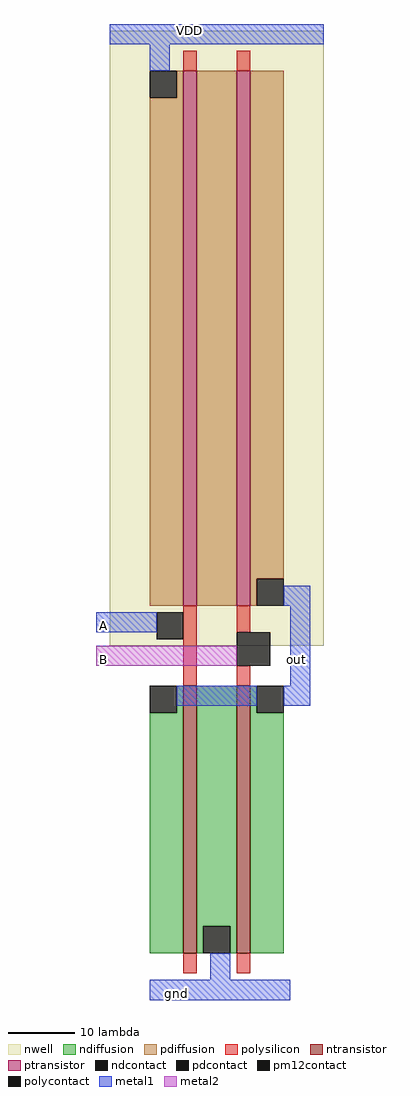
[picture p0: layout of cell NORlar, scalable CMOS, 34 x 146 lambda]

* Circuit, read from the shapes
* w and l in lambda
.subckt NORlar A B VDD gnd out
M1 gnd A out VSUBS nfet w=40 l=2
M2 out B gnd VSUBS nfet w=40 l=2
M3 n1 A VDD n2 pfet w=80 l=2
M4 out B n1 n2 pfet w=80 l=2
.ends

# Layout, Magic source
magic
tech scmos
<< nwell >>
rect 263 -174 295 -82
<< ntransistor >>
rect 274 -220 276 -180
rect 282 -220 284 -180
<< ptransistor >>
rect 274 -168 276 -88
rect 282 -168 284 -88
<< ndiffusion >>
rect 273 -184 274 -180
rect 269 -220 274 -184
rect 276 -216 282 -180
rect 276 -220 277 -216
rect 281 -220 282 -216
rect 284 -184 285 -180
rect 284 -220 289 -184
<< pdiffusion >>
rect 273 -92 274 -88
rect 269 -168 274 -92
rect 276 -168 282 -88
rect 284 -164 289 -88
rect 284 -168 285 -164
<< ndcontact >>
rect 269 -184 273 -180
rect 277 -220 281 -216
rect 285 -184 289 -180
<< pdcontact >>
rect 269 -92 273 -88
rect 285 -168 289 -164
<< polysilicon >>
rect 274 -88 276 -85
rect 282 -88 284 -85
rect 274 -180 276 -168
rect 282 -172 284 -168
rect 282 -180 284 -177
rect 274 -223 276 -220
rect 282 -223 284 -220
<< polycontact >>
rect 270 -173 274 -169
<< metal1 >>
rect 263 -84 295 -81
rect 269 -88 272 -84
rect 289 -168 293 -165
rect 261 -172 270 -169
rect 290 -180 293 -168
rect 273 -183 285 -180
rect 289 -183 293 -180
rect 278 -224 281 -220
rect 269 -227 290 -224
<< pm12contact >>
rect 282 -177 287 -172
<< metal2 >>
rect 261 -177 282 -174
<< labels >>
rlabel metal1 291 -176 291 -176 7 out
rlabel metal2 262 -176 262 -176 3 B
rlabel metal1 262 -171 262 -171 3 A
rlabel metal1 275 -82 275 -82 5 VDD
rlabel metal1 273 -226 273 -226 1 gnd
<< end >>
